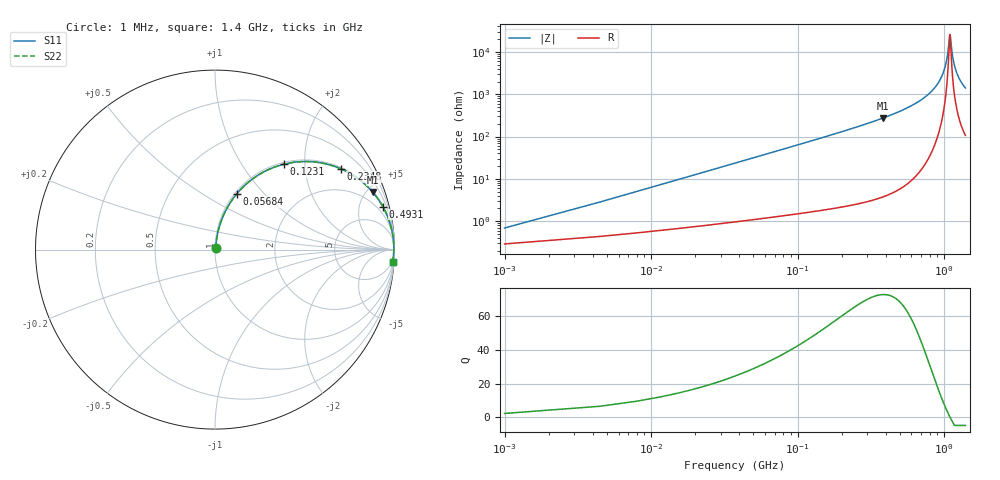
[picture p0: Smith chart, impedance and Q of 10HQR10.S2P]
! Coilcraft 1008HQ-R10 Chip Inductor
! 10 July 2002
# MHZ S MA R 50
!Freq  MagS11  AngS11  MagS21  AngS21  MagS12  AngS12  MagS22  AngS22
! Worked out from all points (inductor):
!   402 points, 1 MHz to 1.4 GHz, reference 50 ohm
!   read as one part in series: L = 100 nH near 7.98 MHz
!   highest Q = 73 at 381.4 MHz (marker M1), where L = 114 nH
!   self-resonance near 1.097 GHz
!   S11 on the Smith chart (normalised r, x): 1 MHz: 1.01, +0.01; 56.84 MHz: 1.02, +0.72; 123.2 MHz: 1.03, +1.57; 234.8 MHz: 1.05, +3.09; 493.1 MHz: 1.11, +7.76; 1.4 GHz: 3, -28
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1  0.006904 64.8  0.9971 -0.4  0.9971 -0.4  0.006904 64.8
11.47  0.07171 81.1  0.9915 -4.1  0.9915 -4.1  0.07171 81.1
18.45  0.1146 79.9  0.9863 -6.6  0.9863 -6.6  0.1146 79.9
32.41  0.1982 76.0  0.9714 -11.4  0.9714 -11.4  0.1982 76.0
56.84  0.3339 68.7  0.9319 -19.5  0.9319 -19.5  0.3339 68.7
123.15  0.6107 51.2  0.7791 -37.6  0.7791 -37.6  0.6107 51.2
234.83  0.8338 32.6  0.5392 -56.5  0.5392 -56.5  0.8338 32.6
381.41  0.9347 20.1  0.343 -69.2  0.343 -69.2  0.9347 20.1
468.66  0.96 15.5  0.2667 -73.7  0.2667 -73.7  0.96 15.5
493.09  0.965 14.4  0.2487 -74.8  0.2487 -74.8  0.965 14.4
702.49  0.9882 7.6  0.1323 -81.1  0.1323 -81.1  0.9882 7.6
838.6  0.9938 4.5  0.07872 -83.3  0.07872 -83.3  0.9938 4.5
936.32  0.9956 2.7  0.04638 -83.3  0.04638 -83.3  0.9956 2.7
992.16  0.9961 1.7  0.02962 -81.6  0.02962 -81.6  0.9961 1.7
1034.04  0.9963 1.0  0.01782 -77.4  0.01782 -77.4  0.9963 1.0
1058.47  0.9963 0.6  0.01132 -70.4  0.01132 -70.4  0.9963 0.6
1096.86  0.9962 0.0  0.003853 -6.3  0.003853 -6.3  0.9962 0.0
1107.33  0.9961 -0.1  0.004512 30.7  0.004512 30.7  0.9961 -0.1
1142.23  0.9959 -0.6  0.01196 69.7  0.01196 69.7  0.9959 -0.6
1170.15  0.9957 -1.0  0.0187 76.1  0.0187 76.1  0.9957 -1.0
1260.89  0.9946 -2.3  0.04011 81.1  0.04011 81.1  0.9946 -2.3
1400  0.9921 -4.0  0.07057 81.6  0.07057 81.6  0.9921 -4.0
